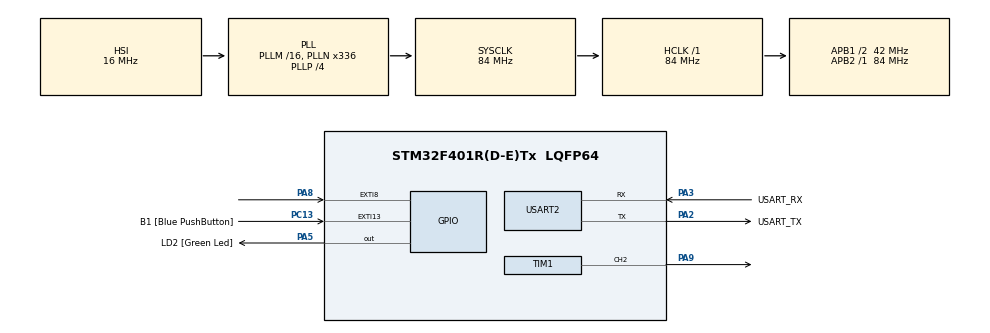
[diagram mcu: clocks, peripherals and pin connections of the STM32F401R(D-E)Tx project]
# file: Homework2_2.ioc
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Mcu.Family=STM32F4
Mcu.Name=STM32F401R(D-E)Tx
Mcu.Package=LQFP64
NVIC.EXTI9_5_IRQn=true\:0\:0\:false\:false\:true\:true\:true\:true
NVIC.PriorityGroup=NVIC_PRIORITYGROUP_0
NVIC.TIM2_IRQn=true\:0\:0\:false\:false\:true\:true\:true\:true
PA13.GPIO_Label=TMS
PA13.Mode=Serial_Wire
PA13.Signal=SYS_JTMS-SWDIO
PA14.GPIO_Label=TCK
PA14.Mode=Serial_Wire
PA14.Signal=SYS_JTCK-SWCLK
PA2.GPIO_Label=USART_TX
PA2.GPIO_Mode=GPIO_MODE_AF_PP
PA2.GPIO_PuPd=GPIO_NOPULL
PA2.GPIO_Speed=GPIO_SPEED_FREQ_LOW
PA2.Mode=Asynchronous
PA2.Signal=USART2_TX
PA3.GPIO_Label=USART_RX
PA3.GPIO_Mode=GPIO_MODE_AF_PP
PA3.GPIO_PuPd=GPIO_NOPULL
PA3.GPIO_Speed=GPIO_SPEED_FREQ_LOW
PA3.Mode=Asynchronous
PA3.Signal=USART2_RX
PA5.GPIO_Label=LD2 [Green Led]
PA5.GPIO_Mode=GPIO_MODE_OUTPUT_PP
PA5.GPIO_PuPd=GPIO_NOPULL
PA5.GPIO_Speed=GPIO_SPEED_FREQ_LOW
PA5.Signal=GPIO_Output
PA8.Signal=GPXTI8
PA9.Signal=S_TIM1_CH2
PB3.GPIO_Label=SWO
PB3.Signal=SYS_JTDO-SWO
PC13-ANTI_TAMP.GPIO_Label=B1 [Blue PushButton]
PC13-ANTI_TAMP.GPIO_ModeDefaultEXTI=GPIO_MODE_IT_FALLING
PC13-ANTI_TAMP.GPIO_PuPd=GPIO_NOPULL
PC13-ANTI_TAMP.Signal=GPXTI13
PC14-OSC32_IN.Mode=LSE-External-Oscillator
PC14-OSC32_IN.Signal=RCC_OSC32_IN
PC15-OSC32_OUT.Mode=LSE-External-Oscillator
PC15-OSC32_OUT.Signal=RCC_OSC32_OUT
PH0\ -\ OSC_IN.Mode=HSE-External-Clock-Source
PH0\ -\ OSC_IN.Signal=RCC_OSC_IN
PH1\ -\ OSC_OUT.Mode=HSE-External-Clock-Source
PH1\ -\ OSC_OUT.Signal=RCC_OSC_OUT
ProjectManager.HeapSize=0x200
ProjectManager.StackSize=0x400
ProjectManager.TargetToolchain=STM32CubeIDE
RCC.48MHZClocksFreq_Value=48000000
RCC.AHBFreq_Value=84000000
RCC.APB1CLKDivider=RCC_HCLK_DIV2
RCC.APB1Freq_Value=42000000
RCC.APB1TimFreq_Value=84000000
RCC.APB2Freq_Value=84000000
RCC.APB2TimFreq_Value=84000000
RCC.CortexFreq_Value=84000000
RCC.HCLKFreq_Value=84000000
RCC.HSE_VALUE=8000000
RCC.HSI_VALUE=16000000
RCC.PLLN=336
RCC.PLLP=RCC_PLLP_DIV4
RCC.PLLQ=7
RCC.SYSCLKFreq_VALUE=84000000
RCC.SYSCLKSource=RCC_SYSCLKSOURCE_PLLCLK
RCC.VCOOutputFreq_Value=336000000
SH.S_TIM1_CH2.0=TIM1_CH2,PWM Generation2 CH2
TIM1.Channel-PWM\ Generation2\ CH2=TIM_CHANNEL_2
TIM1.Prescaler=99
TIM2.Period=1000
TIM2.Prescaler=8399
USART2.VirtualMode=VM_ASYNC
VP_TIM1_VS_ClockSourceINT.Mode=Internal
VP_TIM2_VS_ClockSourceINT.Mode=Internal
board=NUCLEO-F401RE

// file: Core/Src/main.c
/* USER CODE BEGIN Header */
/**
  ******************************************************************************
  * @file           : main.c
  * @brief          : Main program body
  ******************************************************************************
  * @attention
  *
  * Copyright (c) 2023 STMicroelectronics.
  * All rights reserved.
  *
  * This software is licensed under terms that can be found in the LICENSE file
  * in the root directory of this software component.
  * If no LICENSE file comes with this software, it is provided AS-IS.
  *
  ******************************************************************************
  */
/* USER CODE END Header */
#include "main.h"

/* USER CODE BEGIN Includes */
#include <stdbool.h>
/* USER CODE END Includes */

/* USER CODE BEGIN PTD */
struct note{
	int tone;
	int duration;
};
/* USER CODE END PTD */

/* USER CODE BEGIN PD */
#define _DO4 3205
#define _DOD4 3031
#define _RE4 2856
#define _RED4 2699
#define _MI4 2544
#define _FA4 2405
#define _FAD4 2269
#define _SOL4 2141
#define _SOLD4 2023
#define _LA4 1908
#define _LAD4 1801
#define _SI4 1699

#define TEMPO 75
/* USER CODE END PD */

TIM_HandleTypeDef htim1;
TIM_HandleTypeDef htim2;

UART_HandleTypeDef huart2;

/* USER CODE BEGIN PV */
struct note score[] = {
		{_SOL4,6},
		{_LA4,2},
		{_SOL4,4},
		{_FA4,4},
		{_MI4,4},
		{_FA4,4},
		{_SOL4,8},
		{_RE4,4},
		{_MI4,4},
		{_FA4,8},
		{_MI4,4},
		{_FA4,4},
		{_SOL4,8},
		{_SOL4,6},
		{_LA4,2},
		{_SOL4,4},
		{_FA4,4},
		{_MI4,4},
		{_FA4,4},
		{_SOL4,8},
		{_RE4,8},
		{_SOL4,8},
		{_MI4,4},
		{_DO4,12},
};
bool song_playing = false;
int note_index = 0;
int song_length = sizeof(score)/sizeof(score[0]);
/* USER CODE END PV */

void SystemClock_Config(void);
static void MX_GPIO_Init(void);
static void MX_USART2_UART_Init(void);
static void MX_TIM1_Init(void);
static void MX_TIM2_Init(void);

/* USER CODE BEGIN 0 */
void playnote()
{
	HAL_TIM_PWM_Stop(&htim1,TIM_CHANNEL_2);
	//check if the song is over or not
	if (note_index >= song_length){
		   HAL_TIM_Base_Stop_IT(&htim2);
		   __HAL_TIM_CLEAR_IT(&htim2,TIM_IT_UPDATE);
		   song_playing = false;
		   return;
    }
	// Configure the pwm/TIM1 channel2 for the tone that it is going to play
	__HAL_TIM_SET_AUTORELOAD(&htim1,score[note_index].tone);
    __HAL_TIM_SET_COMPARE(&htim1, TIM_CHANNEL_2,score[note_index].tone/2);
    __HAL_TIM_SET_COUNTER(&htim1,0);
    HAL_TIM_PWM_Start(&htim1, TIM_CHANNEL_2);
    //Configure the TIM 2
    /*
    htim2.Instance = TIM2;
    htim2.Init.Prescaler = 8399;
    htim2.Init.CounterMode = TIM_COUNTERMODE_UP;
    htim2.Init.Period = 10*TEMPO*score[note_index].duration-1;
    htim2.Init.ClockDivision = TIM_CLOCKDIVISION_DIV1;
    htim2.Init.AutoReloadPreload = TIM_AUTORELOAD_PRELOAD_DISABLE;
    */
    __HAL_TIM_SET_AUTORELOAD(&htim2,10*TEMPO*score[note_index].duration-1);
    if (HAL_TIM_Base_Init(&htim2) != HAL_OK)
      {
        Error_Handler();
      }
    HAL_TIM_Base_Start_IT(&htim2);
    __HAL_TIM_CLEAR_IT(&htim2,TIM_IT_UPDATE);
}

void playing_init()
{
	song_playing = true;
	note_index = 0;
	playnote();
}

void HAL_GPIO_EXTI_Callback(uint16_t GPIO_Pin)
{
	if(GPIO_Pin == GPIO_PIN_8 && !song_playing){
		playing_init();
	}
}

void HAL_TIM_PeriodElapsedCallback(TIM_HandleTypeDef *htim)
{
	if(htim == &htim2) {
		note_index++;
		playnote();
	}
}
/* USER CODE END 0 */

int main(void)
{

  /* MCU Configuration--------------------------------------------------------*/

  /* Reset of all peripherals, Initializes the Flash interface and the Systick. */
  HAL_Init();

  /* Configure the system clock */
  SystemClock_Config();

  /* Initialize all configured peripherals */
  MX_GPIO_Init();
  MX_USART2_UART_Init();
  MX_TIM1_Init();
  MX_TIM2_Init();

  /* Infinite loop */
  while (1)
  {

  }
}

void SystemClock_Config(void)
{
  RCC_OscInitTypeDef RCC_OscInitStruct = {0};
  RCC_ClkInitTypeDef RCC_ClkInitStruct = {0};

  /** Configure the main internal regulator output voltage
  */
  __HAL_RCC_PWR_CLK_ENABLE();
  __HAL_PWR_VOLTAGESCALING_CONFIG(PWR_REGULATOR_VOLTAGE_SCALE2);

  /** Initializes the RCC Oscillators according to the specified parameters
  * in the RCC_OscInitTypeDef structure.
  */
  RCC_OscInitStruct.OscillatorType = RCC_OSCILLATORTYPE_HSI;
  RCC_OscInitStruct.HSIState = RCC_HSI_ON;
  RCC_OscInitStruct.HSICalibrationValue = RCC_HSICALIBRATION_DEFAULT;
  RCC_OscInitStruct.PLL.PLLState = RCC_PLL_ON;
  RCC_OscInitStruct.PLL.PLLSource = RCC_PLLSOURCE_HSI;
  RCC_OscInitStruct.PLL.PLLM = 16;
  RCC_OscInitStruct.PLL.PLLN = 336;
  RCC_OscInitStruct.PLL.PLLP = RCC_PLLP_DIV4;
  RCC_OscInitStruct.PLL.PLLQ = 7;
  if (HAL_RCC_OscConfig(&RCC_OscInitStruct) != HAL_OK)
  {
    Error_Handler();
  }

  /** Initializes the CPU, AHB and APB buses clocks
  */
  RCC_ClkInitStruct.ClockType = RCC_CLOCKTYPE_HCLK|RCC_CLOCKTYPE_SYSCLK
                              |RCC_CLOCKTYPE_PCLK1|RCC_CLOCKTYPE_PCLK2;
  RCC_ClkInitStruct.SYSCLKSource = RCC_SYSCLKSOURCE_PLLCLK;
  RCC_ClkInitStruct.AHBCLKDivider = RCC_SYSCLK_DIV1;
  RCC_ClkInitStruct.APB1CLKDivider = RCC_HCLK_DIV2;
  RCC_ClkInitStruct.APB2CLKDivider = RCC_HCLK_DIV1;

  if (HAL_RCC_ClockConfig(&RCC_ClkInitStruct, FLASH_LATENCY_2) != HAL_OK)
  {
    Error_Handler();
  }
}

static void MX_TIM1_Init(void)
{

  TIM_ClockConfigTypeDef sClockSourceConfig = {0};
  TIM_MasterConfigTypeDef sMasterConfig = {0};
  TIM_OC_InitTypeDef sConfigOC = {0};
  TIM_BreakDeadTimeConfigTypeDef sBreakDeadTimeConfig = {0};

  htim1.Instance = TIM1;
  htim1.Init.Prescaler = 99;
  htim1.Init.CounterMode = TIM_COUNTERMODE_UP;
  htim1.Init.Period = 65535;
  htim1.Init.ClockDivision = TIM_CLOCKDIVISION_DIV1;
  htim1.Init.RepetitionCounter = 0;
  htim1.Init.AutoReloadPreload = TIM_AUTORELOAD_PRELOAD_DISABLE;
  if (HAL_TIM_Base_Init(&htim1) != HAL_OK)
  {
    Error_Handler();
  }
  sClockSourceConfig.ClockSource = TIM_CLOCKSOURCE_INTERNAL;
  if (HAL_TIM_ConfigClockSource(&htim1, &sClockSourceConfig) != HAL_OK)
  {
    Error_Handler();
  }
  if (HAL_TIM_PWM_Init(&htim1) != HAL_OK)
  {
    Error_Handler();
  }
  sMasterConfig.MasterOutputTrigger = TIM_TRGO_RESET;
  sMasterConfig.MasterSlaveMode = TIM_MASTERSLAVEMODE_DISABLE;
  if (HAL_TIMEx_MasterConfigSynchronization(&htim1, &sMasterConfig) != HAL_OK)
  {
    Error_Handler();
  }
  sConfigOC.OCMode = TIM_OCMODE_PWM1;
  sConfigOC.Pulse = 0;
  sConfigOC.OCPolarity = TIM_OCPOLARITY_HIGH;
  sConfigOC.OCNPolarity = TIM_OCNPOLARITY_HIGH;
  sConfigOC.OCFastMode = TIM_OCFAST_DISABLE;
  sConfigOC.OCIdleState = TIM_OCIDLESTATE_RESET;
  sConfigOC.OCNIdleState = TIM_OCNIDLESTATE_RESET;
  if (HAL_TIM_PWM_ConfigChannel(&htim1, &sConfigOC, TIM_CHANNEL_2) != HAL_OK)
  {
    Error_Handler();
  }
  sBreakDeadTimeConfig.OffStateRunMode = TIM_OSSR_DISABLE;
  sBreakDeadTimeConfig.OffStateIDLEMode = TIM_OSSI_DISABLE;
  sBreakDeadTimeConfig.LockLevel = TIM_LOCKLEVEL_OFF;
  sBreakDeadTimeConfig.DeadTime = 0;
  sBreakDeadTimeConfig.BreakState = TIM_BREAK_DISABLE;
  sBreakDeadTimeConfig.BreakPolarity = TIM_BREAKPOLARITY_HIGH;
  sBreakDeadTimeConfig.AutomaticOutput = TIM_AUTOMATICOUTPUT_DISABLE;
  if (HAL_TIMEx_ConfigBreakDeadTime(&htim1, &sBreakDeadTimeConfig) != HAL_OK)
  {
    Error_Handler();
  }
  HAL_TIM_MspPostInit(&htim1);

}

static void MX_TIM2_Init(void)
{

  TIM_ClockConfigTypeDef sClockSourceConfig = {0};
  TIM_MasterConfigTypeDef sMasterConfig = {0};

  htim2.Instance = TIM2;
  htim2.Init.Prescaler = 8399;
  htim2.Init.CounterMode = TIM_COUNTERMODE_UP;
  htim2.Init.Period = 1000;
  htim2.Init.ClockDivision = TIM_CLOCKDIVISION_DIV1;
  htim2.Init.AutoReloadPreload = TIM_AUTORELOAD_PRELOAD_DISABLE;
  if (HAL_TIM_Base_Init(&htim2) != HAL_OK)
  {
    Error_Handler();
  }
  sClockSourceConfig.ClockSource = TIM_CLOCKSOURCE_INTERNAL;
  if (HAL_TIM_ConfigClockSource(&htim2, &sClockSourceConfig) != HAL_OK)
  {
    Error_Handler();
  }
  sMasterConfig.MasterOutputTrigger = TIM_TRGO_RESET;
  sMasterConfig.MasterSlaveMode = TIM_MASTERSLAVEMODE_DISABLE;
  if (HAL_TIMEx_MasterConfigSynchronization(&htim2, &sMasterConfig) != HAL_OK)
  {
    Error_Handler();
  }

}

static void MX_USART2_UART_Init(void)
{

  huart2.Instance = USART2;
  huart2.Init.BaudRate = 115200;
  huart2.Init.WordLength = UART_WORDLENGTH_8B;
  huart2.Init.StopBits = UART_STOPBITS_1;
  huart2.Init.Parity = UART_PARITY_NONE;
  huart2.Init.Mode = UART_MODE_TX_RX;
  huart2.Init.HwFlowCtl = UART_HWCONTROL_NONE;
  huart2.Init.OverSampling = UART_OVERSAMPLING_16;
  if (HAL_UART_Init(&huart2) != HAL_OK)
  {
    Error_Handler();
  }

}

static void MX_GPIO_Init(void)
{
  GPIO_InitTypeDef GPIO_InitStruct = {0};

  /* GPIO Ports Clock Enable */
  __HAL_RCC_GPIOC_CLK_ENABLE();
  __HAL_RCC_GPIOH_CLK_ENABLE();
  __HAL_RCC_GPIOA_CLK_ENABLE();
  __HAL_RCC_GPIOB_CLK_ENABLE();

  /*Configure GPIO pin Output Level */
  HAL_GPIO_WritePin(LD2_GPIO_Port, LD2_Pin, GPIO_PIN_RESET);

  /*Configure GPIO pin : B1_Pin */
  GPIO_InitStruct.Pin = B1_Pin;
  GPIO_InitStruct.Mode = GPIO_MODE_IT_FALLING;
  GPIO_InitStruct.Pull = GPIO_NOPULL;
  HAL_GPIO_Init(B1_GPIO_Port, &GPIO_InitStruct);

  /*Configure GPIO pin : LD2_Pin */
  GPIO_InitStruct.Pin = LD2_Pin;
  GPIO_InitStruct.Mode = GPIO_MODE_OUTPUT_PP;
  GPIO_InitStruct.Pull = GPIO_NOPULL;
  GPIO_InitStruct.Speed = GPIO_SPEED_FREQ_LOW;
  HAL_GPIO_Init(LD2_GPIO_Port, &GPIO_InitStruct);

  /*Configure GPIO pin : PA8 */
  GPIO_InitStruct.Pin = GPIO_PIN_8;
  GPIO_InitStruct.Mode = GPIO_MODE_IT_RISING;
  GPIO_InitStruct.Pull = GPIO_NOPULL;
  HAL_GPIO_Init(GPIOA, &GPIO_InitStruct);

  /* EXTI interrupt init*/
  HAL_NVIC_SetPriority(EXTI9_5_IRQn, 0, 0);
  HAL_NVIC_EnableIRQ(EXTI9_5_IRQn);

}

void Error_Handler(void)
{
  __disable_irq();
  while (1)
  {
  }
}
